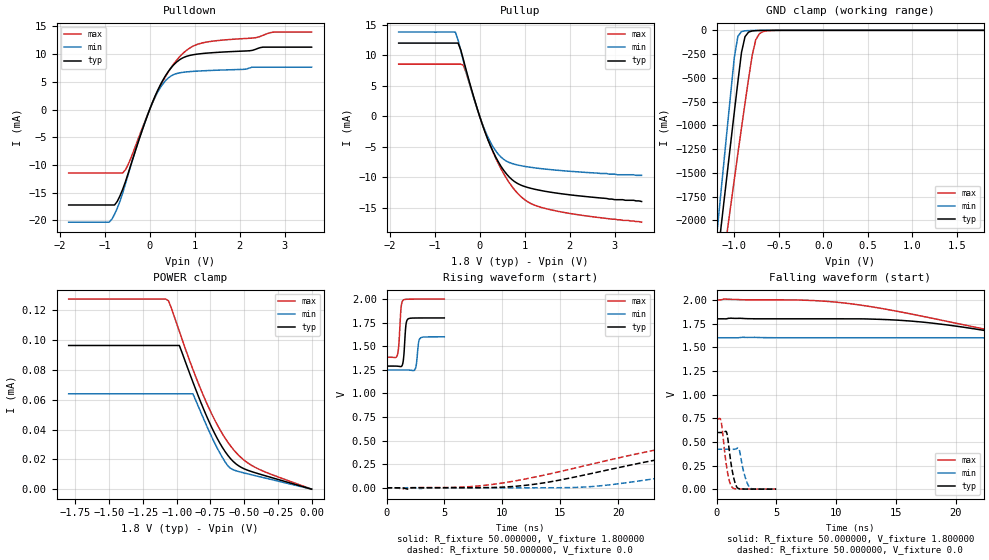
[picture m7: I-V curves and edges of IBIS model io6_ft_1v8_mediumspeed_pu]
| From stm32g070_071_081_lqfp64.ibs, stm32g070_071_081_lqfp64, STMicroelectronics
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|   Model io6_ft_1v8_mediumspeed_pu
[Model]  io6_ft_1v8_mediumspeed_pu
Model_type I/O
Polarity   Non-Inverting
Enable   Active-Low
Vinl =   0.540000V
Vinh =   1.260000V
Vmeas =  0.900000V
Cref =   40.000000pF
Rref =   100.000000M
Vref =   0.0V
C_comp   1.277600pF   1.236700pF   1.315100pF
[Temperature Range]   25.000000   -40.000000   0.125000k
[Pullup Reference]   1.800000V   1.600000V   2.000000V
[Pulldown Reference]   0.0V   0.0V   0.0V
[POWER Clamp Reference]   1.800000V   1.600000V   2.000000V
[GND Clamp Reference]   0.0V   0.0V   0.0V
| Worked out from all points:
|   slope of the pulldown table from 0 to 0.27 V, typ, clamps not added: 54.7 ohm
|   slope of the pullup table from 0 to 0.27 V, typ, clamps not added: 50.6 ohm
|   GND clamp passes 1 mA (typ) near -0.66 V on its own axis
|   rising waveform, R_fixture 50.000000, V_fixture 1.800000: 20-80 % time 165ps typ, 168ps min, 179ps max; typ from 1.29 V to 1.8 V
|   rising waveform, R_fixture 50.000000, V_fixture 0.0: 20-80 % time 17.5ns typ, 17.5ns min, 19.7ns max; typ from 0.001 V to 0.599 V
|   falling waveform, R_fixture 50.000000, V_fixture 1.800000: 20-80 % time 17.8ns typ, 19.8ns min, 17.5ns max; typ from 1.8 V to 1.29 V
|   falling waveform, R_fixture 50.000000, V_fixture 0.0: 20-80 % time 437ps typ, 479ps min, 447ps max; typ from 0.599 V to 0.001 V
[Pulldown]
|Voltage   I(typ)   I(min)   I(max)
-1.8V     -17.22mA   -20.33mA   -11.45mA
-900mV    -17.22mA   -20.33mA   -11.45mA
-720mV    -16.58mA   -17.82mA   -11.45mA
-600mV    -14.41mA   -15.08mA   -11.45mA
-480mV    -11.58mA   -11.79mA   -9.954mA
0V        0A         0A         0A
240mV     4.49mA     3.999mA    4.291mA
480mV     7.563mA    6.085mA    7.612mA
780mV     9.487mA    6.76mA     10.43mA
1.14V     10.08mA    6.976mA    11.96mA
2.76V     11.26mA    7.647mA    13.98mA
3.6V      11.26mA    7.647mA    13.98mA
[Pullup]
|Voltage   I(typ)   I(min)   I(max)
-1.8V     12.04mA    13.85mA    8.581mA
-540mV    12.04mA    13.85mA    8.581mA
-480mV    12.04mA    12.54mA    8.581mA
-360mV    9.289mA    9.048mA    8.382mA
-120mV    2.896mA    2.753mA    2.776mA
120mV     -2.604mA   -2.366mA   -2.563mA
360mV     -6.731mA   -5.708mA   -6.907mA
600mV     -9.499mA   -7.385mA   -10.25mA
960mV     -11.43mA   -8.172mA   -13.47mA
1.32V     -12.13mA   -8.557mA   -14.86mA
2.16V     -13.03mA   -9.116mA   -16.14mA
3.6V      -14mA      -9.7mA     -17.4mA
[GND_clamp]
|Voltage   I(typ)   I(min)   I(max)
-1.8V     -7.471A    -7.973A    -7.298A
-1.2V     -2.489A    -2.18A     -2.954A
-1.16V    -2.16A     -1.797A    -2.674A
-1.08V    -1.505A    -1.034A    -2.118A
-1V       -857.9mA   -283.1mA   -1.568A
-960mV    -540.4mA   -62.14mA   -1.296A
-920mV    -234.4mA   -13.75mA   -1.028A
-880mV    -66.29mA   -4.855mA   -765.3mA
-800mV    -6.505mA   -2.056mA   -266mA
-760mV    -3.074mA   -1.45mA    -100.4mA
-680mV    -1.215mA   -557.1uA   -14.19mA
1.8V      0A         0A         0A
[POWER_clamp]
|Voltage   I(typ)   I(min)   I(max)
-1.8V     96.34uA    63.94uA    127.5uA
-1.08V    96.34uA    63.94uA    127.5uA
-1.06V    96.34uA    63.94uA    126.3uA
-980mV    96.34uA    63.94uA    105.8uA
-880mV    71.93uA    63.94uA    80.41uA
-800mV    53.62uA    47.15uA    62.36uA
-720mV    37.64uA    31.24uA    46.77uA
-640mV    25.08uA    18.16uA    34.09uA
-600mV    20.4uA     13.93uA    28.92uA
-520mV    14.54uA    11.31uA    20.97uA
-420mV    11.06uA    9.102uA    14.71uA
0V        0A         0A         0A
[Ramp]
| variable   typ   min   max
dV/dt_r  0.35867/17.48501n   0.25301/17.52538n   0.44165/19.65364n
dV/dt_f  0.30492/17.70800n   0.20814/19.72167n   0.36888/17.43750n
R_load = 50.000000
[Rising Waveform]
R_fixture= 50.000000
V_fixture= 1.800000
V_fixture_min= 1.600000
V_fixture_max= 2.000000
|time   V(typ)   V(min)   V(max)
0s        1.29V      1.249V     1.384V
940.9ps   1.289V     1.249V     1.41V
1.061ns   1.288V     1.249V     1.516V
1.251ns   1.285V     1.249V     1.902V
1.421ns   1.329V     1.249V     1.986V
1.662ns   1.711V     1.249V     1.997V
1.812ns   1.784V     1.249V     1.998V
2.482ns   1.799V     1.261V     2V
2.883ns   1.8V       1.582V     2V
4.985ns   1.8V       1.6V       2V
[Rising Waveform]
R_fixture= 50.000000
V_fixture= 0.0
V_fixture_min= 0.0
V_fixture_max= 0.0
|time   V(typ)   V(min)   V(max)
0s        1.13mV     851.5uV    1.639mV
1.401ns   -237.1uV   845.9uV    -12.26mV
8.609ns   3.331mV    1.577mV    29.12mV
12.81ns   39.54mV    1.622mV    115mV
17.62ns   150.9mV    13.51mV    249.6mV
23.02ns   290.4mV    95.72mV    396.6mV
28.43ns   401.2mV    194.3mV    510.8mV
40.24ns   534.3mV    340.3mV    653.5mV
55.86ns   585.9mV    405.8mV    717.4mV
99.7ns    599.3mV    422.4mV    738.2mV
[Falling Waveform]
R_fixture= 50.000000
V_fixture= 1.800000
V_fixture_min= 1.600000
V_fixture_max= 2.000000
|time   V(typ)   V(min)   V(max)
0s        1.8V       1.6V       2V
9.009ns   1.8V       1.6V       1.986V
16.22ns   1.777V     1.6V       1.852V
20.42ns   1.716V     1.6V       1.743V
28.23ns   1.552V     1.578V     1.566V
33.23ns   1.46V      1.53V      1.501V
38.44ns   1.398V     1.461V     1.461V
47.65ns   1.342V     1.354V     1.423V
58.26ns   1.314V     1.296V     1.402V
99.7ns    1.29V      1.249V     1.384V
[Falling Waveform]
R_fixture= 50.000000
V_fixture= 0.0
V_fixture_min= 0.0
V_fixture_max= 0.0
|time   V(typ)   V(min)   V(max)
0s        599.3mV    422.4mV    738.2mV
380.4ps   598.8mV    422.5mV    717.9mV
830.8ps   603.9mV    422.7mV    248mV
1.071ns   405.3mV    422.7mV    90.72mV
1.291ns   211.8mV    422.2mV    22.4mV
1.592ns   52.88mV    424.8mV    4.406mV
1.862ns   7.112mV    428.4mV    2.608mV
2.332ns   2.136mV    155mV      1.871mV
2.793ns   1.377mV    15.29mV    1.696mV
4.985ns   1.13mV     851.5uV    1.639mV
